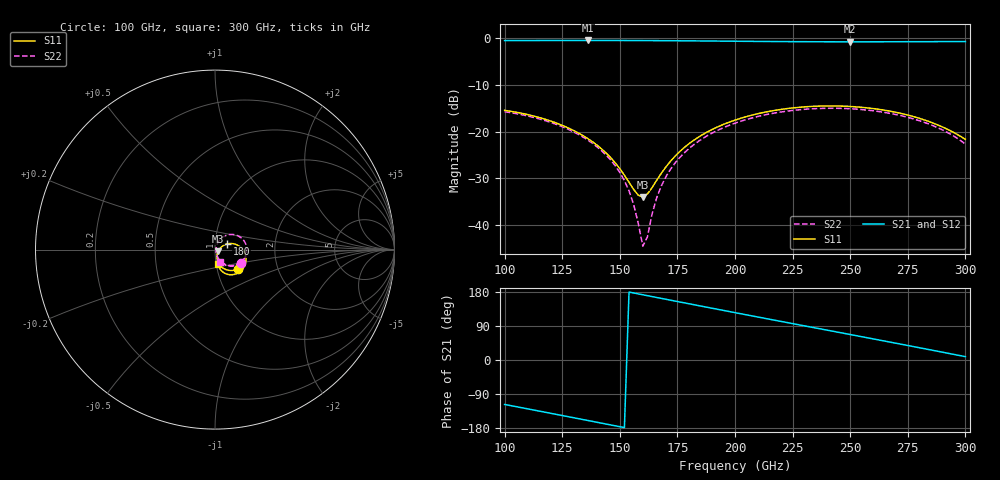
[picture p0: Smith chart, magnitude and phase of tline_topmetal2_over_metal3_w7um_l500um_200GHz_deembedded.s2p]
! Created with skrf 2.0.1 (http://scikit-rf.org).
# GHz S DB R 50.0
!freq dBS11 angS11 dBS21 angS21 dBS12 angS12 dBS22 angS22
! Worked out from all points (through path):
!   101 points, 100 GHz to 300 GHz, reference 50 ohm
!   highest |S21| = -0.51 dB at 136 GHz (marker M1); lowest = -0.8 dB at 250 GHz (marker M2)
!   group delay of S21, straight-line fit = 3.25 ps
!   lowest |S11| = -34.0 dB at 160 GHz (marker M3), VSWR 1.04, Z = 51.9 - j0.818 ohm
!   |S11| at or under -10 dB: start of sweep to end of sweep
!   |S22| runs from -44.5 to -15.0 dB; largest |S21 - S12| = 1.1e-14
!   S11 on the Smith chart (normalised r, x): 100 GHz: 1.27, -0.28; 180 GHz: 1.14, +0.07; 300 GHz: 1.02, -0.17
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100  -15.46 -39.3  -0.53 -117.3  -0.53 -117.3  -15.75 -26.2
118  -17.42 -58.3  -0.52 -138.3  -0.52 -138.3  -17.72 -44.1
134  -20.85 -72.7  -0.51 -157.1  -0.51 -157.1  -21.16 -59.6
136  -21.46 -74.1  -0.51 -159.5  -0.51 -159.5  -21.78 -61.4
146  -25.55 -77.3  -0.52 -171.3  -0.52 -171.3  -26.06 -69.5
152  -29.32 -70.8  -0.52 -178.4  -0.52 -178.4  -30.49 -71.5
156  -32.36 -55.2  -0.53 176.8  -0.53 176.8  -35.56 -66.9
160  -33.98 -23.2  -0.54 172.1  -0.54 172.1  -44.49 -19.9
162  -33.32 -6.0  -0.54 169.7  -0.54 169.7  -42.48 38.2
164  -31.97 7.0  -0.55 167.4  -0.55 167.4  -37.63 59.3
166  -30.42 15.5  -0.55 165.0  -0.55 165.0  -34.17 65.8
168  -28.92 20.8  -0.56 162.6  -0.56 162.6  -31.64 68.0
174  -25.24 26.3  -0.58 155.5  -0.58 155.5  -26.71 66.9
180  -22.60 25.2  -0.60 148.4  -0.60 148.4  -23.65 62.6
188  -20.07 20.0  -0.63 139.0  -0.63 139.0  -20.88 55.3
200  -17.54 9.4  -0.68 125.0  -0.68 125.0  -18.20 43.3
218  -15.40 -8.6  -0.75 104.1  -0.75 104.1  -15.96 24.6
234  -14.60 -25.1  -0.79 85.7  -0.79 85.7  -15.11 7.7
250  -14.63 -41.3  -0.80 67.2  -0.80 67.2  -15.12 -9.6
268  -15.70 -58.6  -0.79 46.4  -0.79 46.4  -16.17 -29.5
286  -18.18 -73.0  -0.77 25.4  -0.77 25.4  -18.75 -50.2
300  -21.65 -77.7  -0.75 8.8  -0.75 8.8  -22.68 -67.8
